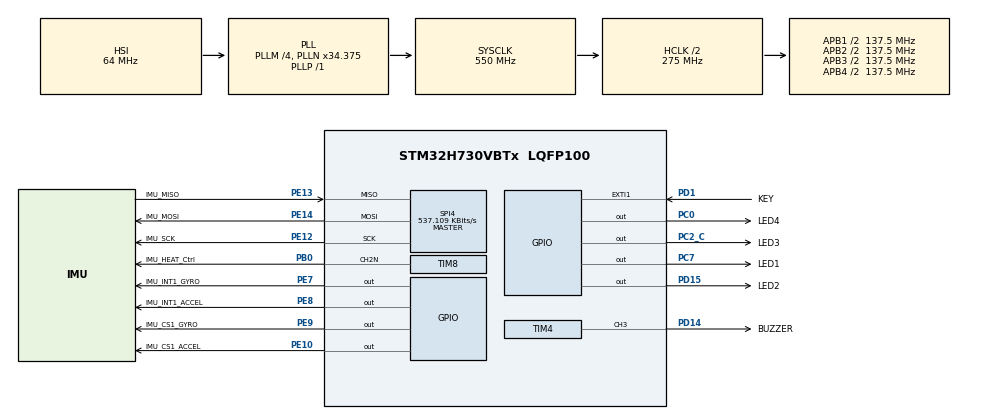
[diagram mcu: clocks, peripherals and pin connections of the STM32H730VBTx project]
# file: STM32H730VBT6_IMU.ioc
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CORTEX_M7.default_mode_Activation=1
Dma.Request0=SPI4_RX
Dma.Request1=SPI4_TX
Dma.SPI4_RX.0.Direction=DMA_PERIPH_TO_MEMORY
Dma.SPI4_RX.0.EventEnable=DISABLE
Dma.SPI4_RX.0.FIFOMode=DMA_FIFOMODE_DISABLE
Dma.SPI4_RX.0.Instance=DMA1_Stream0
Dma.SPI4_RX.0.MemDataAlignment=DMA_MDATAALIGN_BYTE
Dma.SPI4_RX.0.MemInc=DMA_MINC_ENABLE
Dma.SPI4_RX.0.Mode=DMA_NORMAL
Dma.SPI4_RX.0.PeriphDataAlignment=DMA_PDATAALIGN_BYTE
Dma.SPI4_RX.0.PeriphInc=DMA_PINC_DISABLE
Dma.SPI4_RX.0.Polarity=HAL_DMAMUX_REQ_GEN_RISING
Dma.SPI4_RX.0.Priority=DMA_PRIORITY_LOW
Dma.SPI4_RX.0.RequestNumber=1
Dma.SPI4_RX.0.SignalID=NONE
Dma.SPI4_RX.0.SyncEnable=DISABLE
Dma.SPI4_RX.0.SyncPolarity=HAL_DMAMUX_SYNC_NO_EVENT
Dma.SPI4_RX.0.SyncRequestNumber=1
Dma.SPI4_RX.0.SyncSignalID=NONE
Dma.SPI4_TX.1.Direction=DMA_MEMORY_TO_PERIPH
Dma.SPI4_TX.1.EventEnable=DISABLE
Dma.SPI4_TX.1.FIFOMode=DMA_FIFOMODE_DISABLE
Dma.SPI4_TX.1.Instance=DMA1_Stream1
Dma.SPI4_TX.1.MemDataAlignment=DMA_MDATAALIGN_BYTE
Dma.SPI4_TX.1.MemInc=DMA_MINC_ENABLE
Dma.SPI4_TX.1.Mode=DMA_NORMAL
Dma.SPI4_TX.1.PeriphDataAlignment=DMA_PDATAALIGN_BYTE
Dma.SPI4_TX.1.PeriphInc=DMA_PINC_DISABLE
Dma.SPI4_TX.1.Polarity=HAL_DMAMUX_REQ_GEN_RISING
Dma.SPI4_TX.1.Priority=DMA_PRIORITY_LOW
Dma.SPI4_TX.1.RequestNumber=1
Dma.SPI4_TX.1.SignalID=NONE
Dma.SPI4_TX.1.SyncEnable=DISABLE
Dma.SPI4_TX.1.SyncPolarity=HAL_DMAMUX_SYNC_NO_EVENT
Dma.SPI4_TX.1.SyncRequestNumber=1
Dma.SPI4_TX.1.SyncSignalID=NONE
Mcu.Family=STM32H7
Mcu.Name=STM32H730VBTx
Mcu.Package=LQFP100
NVIC.DMA1_Stream0_IRQn=true\:0\:0\:false\:false\:true\:false\:true\:true
NVIC.DMA1_Stream1_IRQn=true\:0\:0\:false\:false\:true\:false\:true\:true
NVIC.EXTI1_IRQn=true\:0\:0\:false\:false\:true\:true\:true\:true
NVIC.PriorityGroup=NVIC_PRIORITYGROUP_4
NVIC.SPI4_IRQn=true\:0\:0\:false\:false\:true\:false\:true\:true
PA13(JTMS/SWDIO).Mode=Serial_Wire
PA13(JTMS/SWDIO).Signal=DEBUG_JTMS-SWDIO
PA14(JTCK/SWCLK).Mode=Serial_Wire
PA14(JTCK/SWCLK).Signal=DEBUG_JTCK-SWCLK
PB0.GPIO_Label=IMU_HEAT_Ctrl
PB0.Mode=PWM Generation2 CH2N
PB0.Signal=TIM8_CH2N
PC0.GPIO_Label=LED4
PC0.Signal=GPIO_Output
PC14-OSC32_IN.Mode=LSE-External-Oscillator
PC14-OSC32_IN.Signal=RCC_OSC32_IN
PC15-OSC32_OUT.Mode=LSE-External-Oscillator
PC15-OSC32_OUT.Signal=RCC_OSC32_OUT
PC2_C.GPIO_Label=LED3
PC2_C.Signal=GPIO_Output
PC7.GPIO_Label=LED1
PC7.Signal=GPIO_Output
PD1.GPIO_Label=KEY
PD1.GPIO_ModeDefaultEXTI=GPIO_MODE_IT_FALLING
PD1.Signal=GPXTI1
PD14.GPIO_Label=BUZZER
PD14.Signal=S_TIM4_CH3
PD15.GPIO_Label=LED2
PD15.Signal=GPIO_Output
PE10.GPIO_Label=IMU_CS1_ACCEL
PE10.Signal=GPIO_Output
PE12.GPIO_Label=IMU_SCK
PE12.Mode=Full_Duplex_Master
PE12.Signal=SPI4_SCK
PE13.GPIO_Label=IMU_MISO
PE13.Mode=Full_Duplex_Master
PE13.Signal=SPI4_MISO
PE14.GPIO_Label=IMU_MOSI
PE14.Mode=Full_Duplex_Master
PE14.Signal=SPI4_MOSI
PE7.GPIO_Label=IMU_INT1_GYRO
PE7.Signal=GPIO_Output
PE8.GPIO_Label=IMU_INT1_ACCEL
PE8.Signal=GPIO_Output
PE9.GPIO_Label=IMU_CS1_GYRO
PE9.Signal=GPIO_Output
PH0-OSC_IN.Mode=HSE-External-Oscillator
PH0-OSC_IN.Signal=RCC_OSC_IN
PH1-OSC_OUT.Mode=HSE-External-Oscillator
PH1-OSC_OUT.Signal=RCC_OSC_OUT
ProjectManager.HeapSize=0x200
ProjectManager.StackSize=0x400
ProjectManager.TargetToolchain=STM32CubeIDE
RCC.ADCFreq_Value=129000000
RCC.APB1Freq_Value=137500000
RCC.APB2Freq_Value=137500000
RCC.APB3Freq_Value=137500000
RCC.APB4Freq_Value=137500000
RCC.CortexFreq_Value=550000000
RCC.D1PPRE=RCC_APB3_DIV2
RCC.D2PPRE1=RCC_APB1_DIV2
RCC.D2PPRE2=RCC_APB2_DIV2
RCC.D3PPRE=RCC_APB4_DIV2
RCC.DIVM1=4
RCC.DIVN1=34
RCC.DIVP1=1
RCC.HCLKFreq_Value=275000000
RCC.HPRE=RCC_HCLK_DIV2
RCC.PLL2FRACN=0
RCC.PLL3FRACN=0
RCC.PLLFRACN=3072
RCC.SYSCLKFreq_VALUE=550000000
RCC.SYSCLKSource=RCC_SYSCLKSOURCE_PLLCLK
RCC.USBFreq_Value=275000000
SH.S_TIM4_CH3.0=TIM4_CH3,PWM Generation3 CH3
SPI4.BaudRatePrescaler=SPI_BAUDRATEPRESCALER_256
SPI4.CLKPhase=SPI_PHASE_2EDGE
SPI4.CLKPolarity=SPI_POLARITY_HIGH
SPI4.CalculateBaudRate=537.109 KBits/s
SPI4.DataSize=SPI_DATASIZE_8BIT
SPI4.Direction=SPI_DIRECTION_2LINES
SPI4.Mode=SPI_MODE_MASTER
SPI4.VirtualType=VM_MASTER
TIM4.AutoReloadPreload=TIM_AUTORELOAD_PRELOAD_ENABLE
TIM4.Channel-PWM\ Generation3\ CH3=TIM_CHANNEL_3
TIM4.OCFastMode_PWM-PWM\ Generation3\ CH3=TIM_OCFAST_ENABLE
TIM4.Period=10999
TIM4.Prescaler=49
TIM8.Channel-PWM\ Generation2\ CH2N=TIM_CHANNEL_2
board=custom

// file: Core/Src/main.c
/* USER CODE BEGIN Header */
/**
 ******************************************************************************
 * @file           : main.c
 * @brief          : Main program body
 ******************************************************************************
 * @attention
 *
 * Copyright (c) 2024 STMicroelectronics.
 * All rights reserved.
 *
 * This software is licensed under terms that can be found in the LICENSE file
 * in the root directory of this software component.
 * If no LICENSE file comes with this software, it is provided AS-IS.
 *
 ******************************************************************************
 */
/* USER CODE END Header */
#include "main.h"
#include "dma.h"
#include "spi.h"
#include "tim.h"
#include "gpio.h"

/* USER CODE BEGIN Includes */
#include "BUZZER.h"
#include "BMI088driver.h"
/* USER CODE END Includes */

/* USER CODE BEGIN PV */
float gyro_data[3], accel_data[3], temperature_data;
/* USER CODE END PV */

void SystemClock_Config(void);
static void MPU_Config(void);

int main(void)
{

    /* MPU Configuration--------------------------------------------------------*/
    MPU_Config();

    /* MCU Configuration--------------------------------------------------------*/

    /* Reset of all peripherals, Initializes the Flash interface and the Systick. */
    HAL_Init();

    /* Configure the system clock */
    SystemClock_Config();

    /* Initialize all configured peripherals */
    MX_GPIO_Init();
    MX_DMA_Init();
    MX_SPI4_Init();
    MX_TIM4_Init();
    MX_TIM8_Init();
    /* USER CODE BEGIN 2 */
    HAL_TIM_Base_Start_IT(&htim4);
    BMI088_init();

    BUZZER_0N(400);
    HAL_Delay(100);
    BUZZER_Stop();
    HAL_Delay(100);
    BUZZER_0N(500);
    HAL_Delay(100);
    BUZZER_Stop();
    BUZZER_0N(700);
    HAL_Delay(114);
    BUZZER_Stop();
    /* USER CODE END 2 */

    /* Infinite loop */
    /* USER CODE BEGIN WHILE */
    while (1) {
        if (HAL_GPIO_ReadPin(KEY_GPIO_Port, KEY_Pin)) {
            BUZZER_Stop();
        } else {
            BUZZER_0N(114);
        }
        BMI088_read(gyro_data, accel_data, &temperature_data);
        /* USER CODE END WHILE */

    }
}

void SystemClock_Config(void)
{
    RCC_OscInitTypeDef RCC_OscInitStruct = {0};
    RCC_ClkInitTypeDef RCC_ClkInitStruct = {0};

    /** Supply configuration update enable
     */
    HAL_PWREx_ConfigSupply(PWR_LDO_SUPPLY);

    /** Configure the main internal regulator output voltage
     */
    __HAL_PWR_VOLTAGESCALING_CONFIG(PWR_REGULATOR_VOLTAGE_SCALE0);

    while (!__HAL_PWR_GET_FLAG(PWR_FLAG_VOSRDY)) {}

    /** Initializes the RCC Oscillators according to the specified parameters
     * in the RCC_OscInitTypeDef structure.
     */
    RCC_OscInitStruct.OscillatorType      = RCC_OSCILLATORTYPE_HSI;
    RCC_OscInitStruct.HSIState            = RCC_HSI_DIV1;
    RCC_OscInitStruct.HSICalibrationValue = 64;
    RCC_OscInitStruct.PLL.PLLState        = RCC_PLL_ON;
    RCC_OscInitStruct.PLL.PLLSource       = RCC_PLLSOURCE_HSI;
    RCC_OscInitStruct.PLL.PLLM            = 4;
    RCC_OscInitStruct.PLL.PLLN            = 34;
    RCC_OscInitStruct.PLL.PLLP            = 1;
    RCC_OscInitStruct.PLL.PLLQ            = 2;
    RCC_OscInitStruct.PLL.PLLR            = 2;
    RCC_OscInitStruct.PLL.PLLRGE          = RCC_PLL1VCIRANGE_3;
    RCC_OscInitStruct.PLL.PLLVCOSEL       = RCC_PLL1VCOWIDE;
    RCC_OscInitStruct.PLL.PLLFRACN        = 3072;
    if (HAL_RCC_OscConfig(&RCC_OscInitStruct) != HAL_OK) {
        Error_Handler();
    }

    /** Initializes the CPU, AHB and APB buses clocks
     */
    RCC_ClkInitStruct.ClockType      = RCC_CLOCKTYPE_HCLK | RCC_CLOCKTYPE_SYSCLK | RCC_CLOCKTYPE_PCLK1 | RCC_CLOCKTYPE_PCLK2 | RCC_CLOCKTYPE_D3PCLK1 | RCC_CLOCKTYPE_D1PCLK1;
    RCC_ClkInitStruct.SYSCLKSource   = RCC_SYSCLKSOURCE_PLLCLK;
    RCC_ClkInitStruct.SYSCLKDivider  = RCC_SYSCLK_DIV1;
    RCC_ClkInitStruct.AHBCLKDivider  = RCC_HCLK_DIV2;
    RCC_ClkInitStruct.APB3CLKDivider = RCC_APB3_DIV2;
    RCC_ClkInitStruct.APB1CLKDivider = RCC_APB1_DIV2;
    RCC_ClkInitStruct.APB2CLKDivider = RCC_APB2_DIV2;
    RCC_ClkInitStruct.APB4CLKDivider = RCC_APB4_DIV2;

    if (HAL_RCC_ClockConfig(&RCC_ClkInitStruct, FLASH_LATENCY_3) != HAL_OK) {
        Error_Handler();
    }
}

/* MPU Configuration */

void MPU_Config(void)
{
    MPU_Region_InitTypeDef MPU_InitStruct = {0};

    /* Disables the MPU */
    HAL_MPU_Disable();

    /** Initializes and configures the Region and the memory to be protected
     */
    MPU_InitStruct.Enable           = MPU_REGION_ENABLE;
    MPU_InitStruct.Number           = MPU_REGION_NUMBER0;
    MPU_InitStruct.BaseAddress      = 0x0;
    MPU_InitStruct.Size             = MPU_REGION_SIZE_4GB;
    MPU_InitStruct.SubRegionDisable = 0x87;
    MPU_InitStruct.TypeExtField     = MPU_TEX_LEVEL0;
    MPU_InitStruct.AccessPermission = MPU_REGION_NO_ACCESS;
    MPU_InitStruct.DisableExec      = MPU_INSTRUCTION_ACCESS_DISABLE;
    MPU_InitStruct.IsShareable      = MPU_ACCESS_SHAREABLE;
    MPU_InitStruct.IsCacheable      = MPU_ACCESS_NOT_CACHEABLE;
    MPU_InitStruct.IsBufferable     = MPU_ACCESS_NOT_BUFFERABLE;

    HAL_MPU_ConfigRegion(&MPU_InitStruct);
    /* Enables the MPU */
    HAL_MPU_Enable(MPU_PRIVILEGED_DEFAULT);
}

void Error_Handler(void)
{
    __disable_irq();
    while (1) {
    }
}
